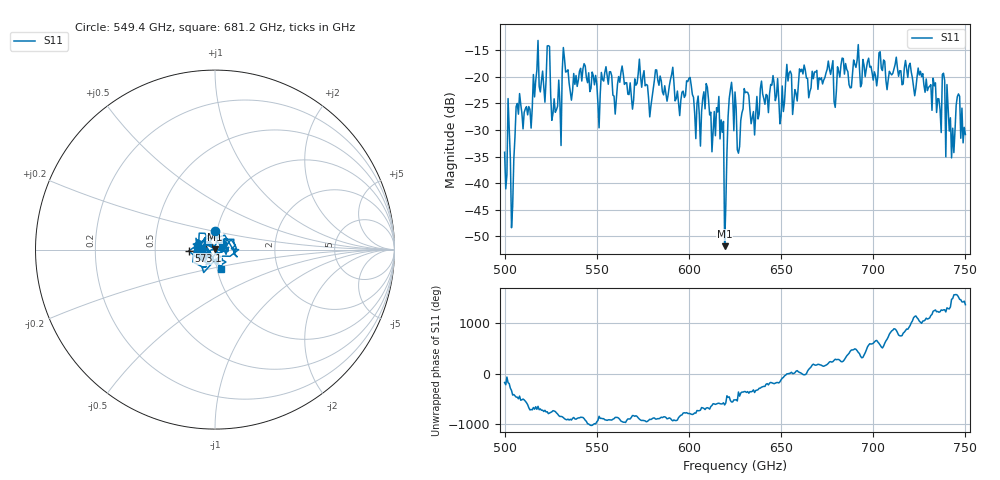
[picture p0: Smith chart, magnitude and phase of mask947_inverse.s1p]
!Created with skrf (http://scikit-rf.org).
# GHz S MA R 50.0
!freq magS11 angS11
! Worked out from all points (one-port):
!   401 points, 500 GHz to 750 GHz, reference 50 ohm
!   lowest |S11| = -51.9 dB at 619.4 GHz (marker M1), VSWR 1.01, Z = 49.9 + j0.247 ohm
!   |S11| at or under -10 dB: start of sweep to end of sweep
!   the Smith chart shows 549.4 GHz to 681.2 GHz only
!   S11 on the Smith chart (normalised r, x): 549.4 GHz: 0.98, +0.21; 573.1 GHz: 0.74, -0.01; 681.2 GHz: 1.04, -0.23
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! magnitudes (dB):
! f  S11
! 500 GHz  -34.2
! 504.4 GHz  -44.4
! 507.5 GHz  -27.0
! 513.8 GHz  -26.1
! 516.9 GHz  -20.7
! 523.8 GHz  -14.1
! 526.9 GHz  -24.1
! 531.2 GHz  -19.0
! 549.4 GHz  -19.7
! 562.5 GHz  -21.0
! 573.1 GHz  -16.6
! 593.8 GHz  -22.7
! 600 GHz  -20.3
! 605 GHz  -23.6
! 609.4 GHz  -21.3
! 617.5 GHz  -28.1
! 619.4 GHz  -51.9
! 620.6 GHz  -34.4
! 622.5 GHz  -22.4
! 625 GHz  -22.8
! 627.5 GHz  -33.1
! 631.2 GHz  -22.8
! 635 GHz  -26.5
! 656.2 GHz  -27.1
! 681.2 GHz  -19.0
! 687.5 GHz  -22.1
! 718.8 GHz  -20.1
! 750 GHz  -30.8
